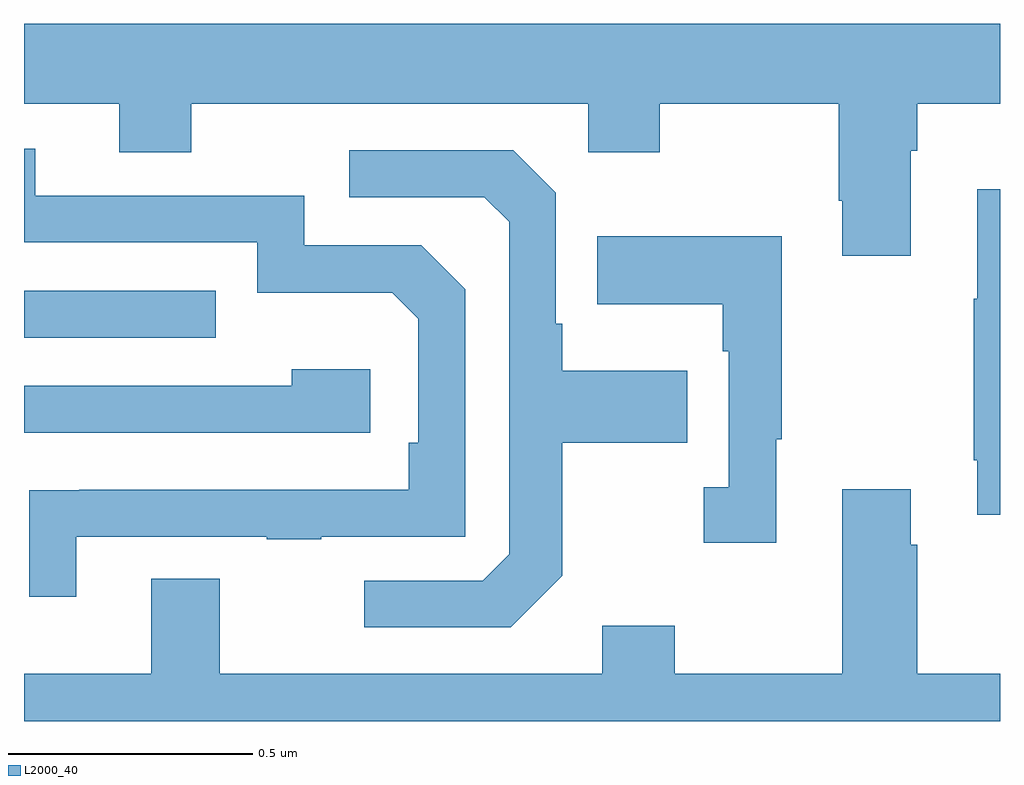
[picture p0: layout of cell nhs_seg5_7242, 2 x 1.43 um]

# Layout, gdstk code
import gdstk
lib = gdstk.Library(unit=1e-6, precision=1e-09)
def R(c, l, rs):  # rectangles x0, y0, x1, y1
    for r in rs: c.add(gdstk.rectangle(r[:2], r[2:], *l))
def P(c, l, *ps):  # polygons
    for p in ps: c.add(gdstk.Polygon(p, *l))
L2000_40 = (2000, 40)

nhs_seg5_7242 = lib.new_cell('nhs_seg5_7242')
R(nhs_seg5_7242, L2000_40, [(206,885.585,206.393,885.681)])
P(nhs_seg5_7242, L2000_40, [(207.817,885.968),(207.83,885.968),(207.83,886.064),(208,886.064),(208,886.228),(206,886.228),(206,886.064),(206.195,886.064),(206.195,885.965),(206.343,885.965),(206.343,886.064),(207.156,886.064),(207.156,885.965),(207.303,885.965),(207.303,886.064),(207.67,886.064),(207.67,885.865),(207.677,885.865),(207.677,885.753),(207.817,885.753)],
  [(206.107,885.177),(206.497,885.177),(206.497,885.172),(206.609,885.172),(206.609,885.177),(206.904,885.177),(206.904,885.684),(206.814,885.774),(206.574,885.774),(206.574,885.876),(206.023,885.876),(206.023,885.972),(206,885.972),(206,885.78),(206.478,885.78),(206.478,885.677),(206.755,885.677),(206.808,885.624),(206.808,885.37),(206.788,885.37),(206.788,885.273),(206.113,885.273),(206.113,885.272),(206.011,885.272),(206.011,885.054),(206.107,885.054)],
  [(207.103,885.097),(207.103,885.37),(207.359,885.37),(207.359,885.517),(207.103,885.517),(207.103,885.613),(207.09,885.613),(207.09,885.882),(207.003,885.969),(206.667,885.969),(206.667,885.873),(206.943,885.873),(206.994,885.822),(206.994,885.141),(206.94,885.087),(206.697,885.087),(206.697,884.991),(206.997,884.991)],
  [(208,885.889),(207.953,885.889),(207.953,885.665),(207.946,885.665),(207.946,885.334),(207.953,885.334),(207.953,885.222),(208,885.222)],
  [(207.541,885.377),(207.553,885.377),(207.553,885.793),(207.175,885.793),(207.175,885.653),(207.432,885.653),(207.432,885.557),(207.444,885.557),(207.444,885.278),(207.393,885.278),(207.393,885.165),(207.541,885.165)],
  [(206.71,885.52),(206.549,885.52),(206.549,885.486),(206,885.486),(206,885.39),(206.71,885.39)],
  [(208,884.896),(207.83,884.896),(207.83,885.161),(207.817,885.161),(207.817,885.274),(207.677,885.274),(207.677,884.896),(207.333,884.896),(207.333,884.995),(207.185,884.995),(207.185,884.896),(206.401,884.896),(206.401,885.091),(206.261,885.091),(206.261,884.896),(206,884.896),(206,884.799),(208,884.799)])

lib.write_gds('nhs_seg5_7242.gds')
